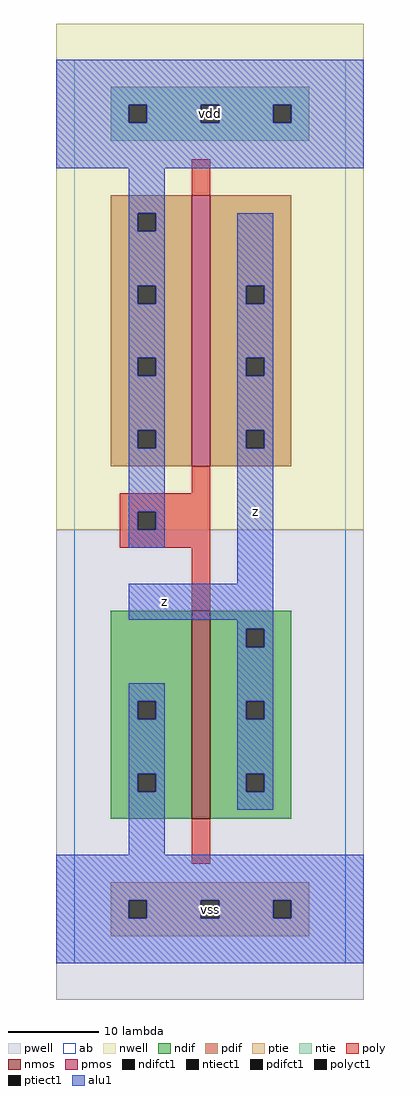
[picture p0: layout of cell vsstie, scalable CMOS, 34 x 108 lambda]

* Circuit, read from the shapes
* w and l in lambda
.subckt vsstie vdd vss z
M1 z vdd vss vss nfet w=23 l=2
M2 z vdd vdd vdd pfet w=30 l=2
.ends

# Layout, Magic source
magic
tech scmos
<< ab >>
rect 0 0 30 100
<< nwell >>
rect -2 48 32 104
<< pwell >>
rect -2 -4 32 48
<< poly >>
rect 13 85 15 89
rect 13 52 15 55
rect 5 50 15 52
rect 5 48 7 50
rect 9 48 15 50
rect 5 46 15 48
rect 13 39 15 46
rect 13 11 15 16
<< ndif >>
rect 4 29 13 39
rect 4 27 7 29
rect 9 27 13 29
rect 4 21 13 27
rect 4 19 7 21
rect 9 19 13 21
rect 4 16 13 19
rect 15 37 24 39
rect 15 35 19 37
rect 21 35 24 37
rect 15 29 24 35
rect 15 27 19 29
rect 21 27 24 29
rect 15 21 24 27
rect 15 19 19 21
rect 21 19 24 21
rect 15 16 24 19
<< pdif >>
rect 4 83 13 85
rect 4 81 7 83
rect 9 81 13 83
rect 4 75 13 81
rect 4 73 7 75
rect 9 73 13 75
rect 4 67 13 73
rect 4 65 7 67
rect 9 65 13 67
rect 4 59 13 65
rect 4 57 7 59
rect 9 57 13 59
rect 4 55 13 57
rect 15 75 24 85
rect 15 73 19 75
rect 21 73 24 75
rect 15 67 24 73
rect 15 65 19 67
rect 21 65 24 67
rect 15 59 24 65
rect 15 57 19 59
rect 21 57 24 59
rect 15 55 24 57
<< alu1 >>
rect -2 95 32 100
rect -2 93 6 95
rect 8 93 14 95
rect 16 93 22 95
rect 24 93 32 95
rect -2 88 32 93
rect 6 83 10 88
rect 6 81 7 83
rect 9 81 10 83
rect 6 75 10 81
rect 6 73 7 75
rect 9 73 10 75
rect 6 67 10 73
rect 6 65 7 67
rect 9 65 10 67
rect 6 59 10 65
rect 6 57 7 59
rect 9 57 10 59
rect 6 50 10 57
rect 6 48 7 50
rect 9 48 10 50
rect 6 46 10 48
rect 18 75 22 83
rect 18 73 19 75
rect 21 73 22 75
rect 18 67 22 73
rect 18 65 19 67
rect 21 65 22 67
rect 18 59 22 65
rect 18 57 19 59
rect 21 57 22 59
rect 18 42 22 57
rect 6 38 22 42
rect 18 37 22 38
rect 18 35 19 37
rect 21 35 22 37
rect 6 29 10 31
rect 6 27 7 29
rect 9 27 10 29
rect 6 21 10 27
rect 6 19 7 21
rect 9 19 10 21
rect 6 12 10 19
rect 18 29 22 35
rect 18 27 19 29
rect 21 27 22 29
rect 18 21 22 27
rect 18 19 19 21
rect 21 19 22 21
rect 18 17 22 19
rect -2 7 32 12
rect -2 5 6 7
rect 8 5 14 7
rect 16 5 22 7
rect 24 5 32 7
rect -2 0 32 5
<< ptie >>
rect 4 7 26 9
rect 4 5 6 7
rect 8 5 14 7
rect 16 5 22 7
rect 24 5 26 7
rect 4 3 26 5
<< ntie >>
rect 4 95 26 97
rect 4 93 6 95
rect 8 93 14 95
rect 16 93 22 95
rect 24 93 26 95
rect 4 91 26 93
<< nmos >>
rect 13 16 15 39
<< pmos >>
rect 13 55 15 85
<< polyct1 >>
rect 7 48 9 50
<< ndifct1 >>
rect 7 27 9 29
rect 7 19 9 21
rect 19 35 21 37
rect 19 27 21 29
rect 19 19 21 21
<< ntiect1 >>
rect 6 93 8 95
rect 14 93 16 95
rect 22 93 24 95
<< ptiect1 >>
rect 6 5 8 7
rect 14 5 16 7
rect 22 5 24 7
<< pdifct1 >>
rect 7 81 9 83
rect 7 73 9 75
rect 7 65 9 67
rect 7 57 9 59
rect 19 73 21 75
rect 19 65 21 67
rect 19 57 21 59
<< labels >>
rlabel alu1 10 40 10 40 6 z
rlabel ptiect1 15 6 15 6 6 vss
rlabel alu1 20 50 20 50 6 z
rlabel ntiect1 15 94 15 94 6 vdd
<< end >>
